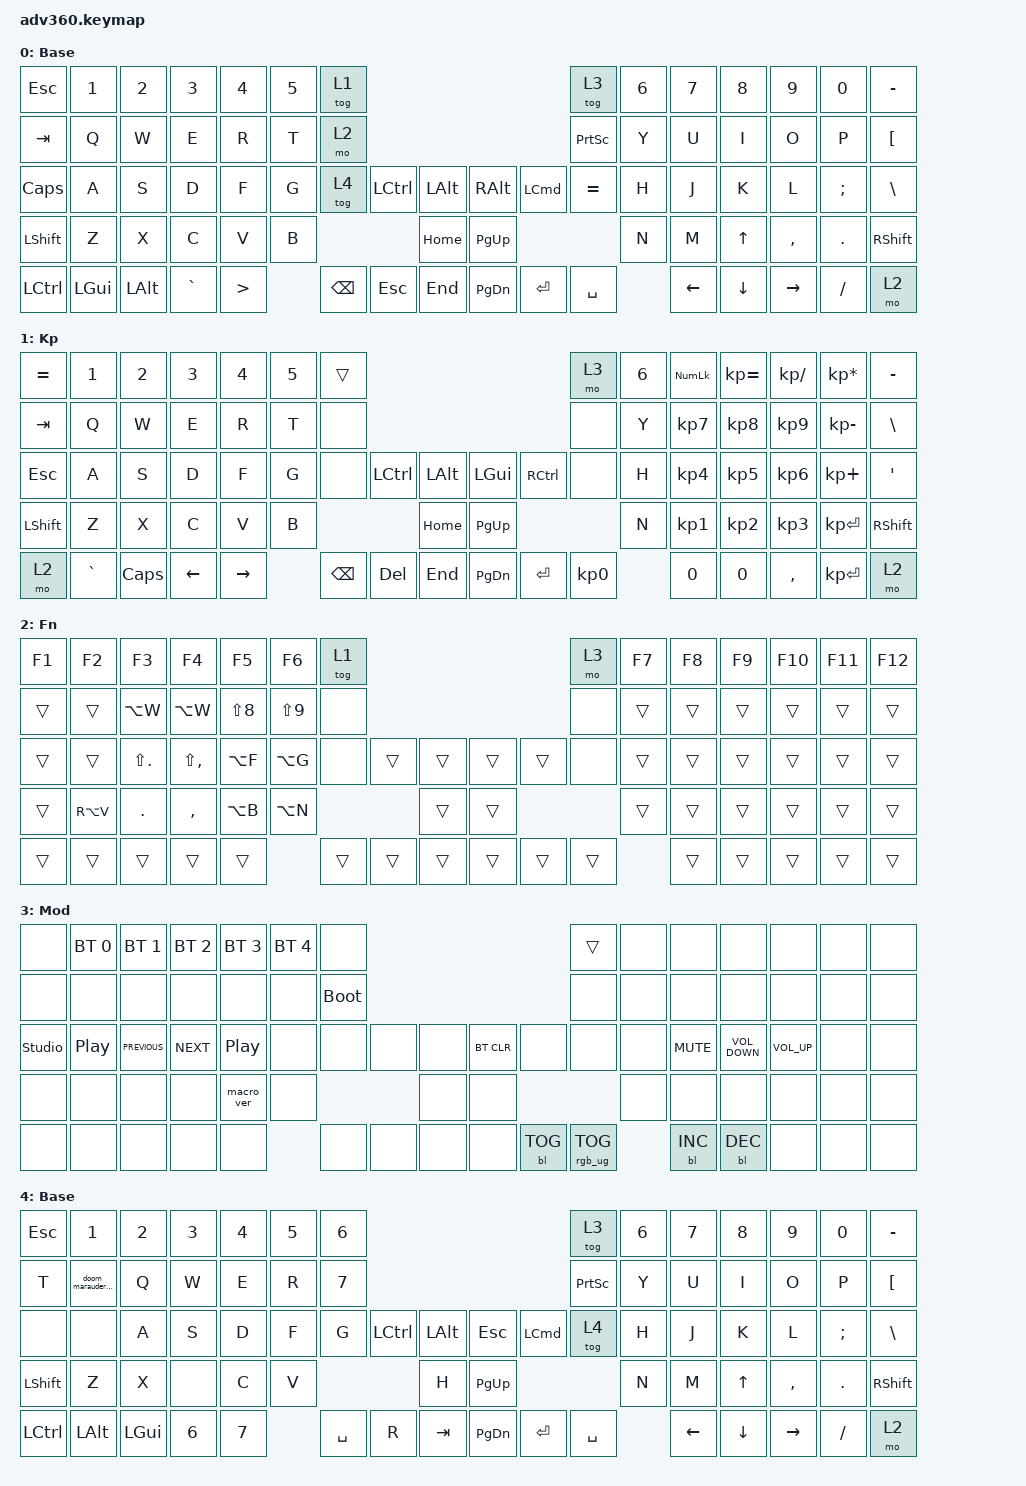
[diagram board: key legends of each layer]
#include <dt-bindings/zmk/stp.h>
#include <behaviors.dtsi>
#include <dt-bindings/zmk/backlight.h>
#include <dt-bindings/zmk/bt.h>
#include <dt-bindings/zmk/keys.h>
#include <dt-bindings/zmk/pointing.h>
#include <dt-bindings/zmk/rgb.h>

/ {
    behaviors {
        #include "macros.dtsi"
      #include "version.dtsi"

        hm: homerow_mods {
            compatible = "zmk,behavior-hold-tap";
            label = "HOMEROW_MODS";
            #binding-cells = <2>;
            tapping-term-ms = <200>;
            quick_tap_ms = <175>;
            flavor = "tap-preferred";
            bindings = <&kp>, <&kp>;
        };
    };

    macros {
        doom_marauder_v2: doom_marauder {
            compatible = "zmk,behavior-macro";
            #binding-cells = <0>;
            bindings =
                <&kp N5>,
                <&macro_wait_time 50000>,
                <&mkp MB1>,
                <&macro_wait_time 40>,
                <&kp NUMBER_6>,
                <&macro_wait_time 50>,
                <&mkp MB1>,
                <&macro_wait_time 100>,
                <&kp NUMBER_4>,
                <&macro_wait_time 40>,
                <&mkp MB1>;

            label = "DOOM_MARAUDER";
        };
    };

    keymap {
        compatible = "zmk,keymap";

        default_layer {
            display-name = "Base";
            bindings = <
&kp ESCAPE        &kp N1        &kp N2        &kp N3     &kp N4            &kp N5  &tog 1                                                               &tog 3           &kp N6  &kp N7          &kp N8        &kp N9           &kp N0     &kp MINUS
&kp TAB           &kp Q         &kp W         &kp E      &kp R             &kp T   &mo 2                                                                &kp PRINTSCREEN  &kp Y   &kp U           &kp I         &kp O            &kp P      &kp LEFT_BRACKET
&kp CAPSLOCK      &kp A         &kp S         &kp D      &kp F             &kp G   &tog 4    &kp LCTRL   &kp LALT      &kp RIGHT_ALT  &kp LEFT_COMMAND  &kp EQUAL        &kp H   &kp J           &kp K         &kp L            &kp SEMI   &kp BACKSLASH
&kp LSHFT         &kp Z         &kp X         &kp C      &kp V             &kp B                         &kp HOME      &kp PG_UP                                         &kp N   &kp M           &kp UP_ARROW  &kp COMMA        &kp DOT    &kp RSHFT
&kp LEFT_CONTROL  &kp LEFT_GUI  &kp LEFT_ALT  &kp GRAVE  &kp GREATER_THAN          &kp BSPC  &kp ESCAPE  &kp END       &kp PG_DN      &kp ENTER         &kp SPACE                &kp LEFT_ARROW  &kp DOWN      &kp RIGHT_ARROW  &kp SLASH  &mo 2
            >;
        };

        keypad {
            display-name = "Kp";
            bindings = <
&kp EQUAL  &kp N1     &kp N2    &kp N3    &kp N4     &kp N5  &trans                                                   &mo 3      &kp N6  &kp KP_NUM    &kp KP_EQUAL  &kp KP_DIVIDE  &kp KP_MULTIPLY  &kp MINUS
&kp TAB    &kp Q      &kp W     &kp E     &kp R      &kp T   &none                                                    &none      &kp Y   &kp KP_N7     &kp KP_N8     &kp KP_N9      &kp KP_MINUS     &kp BSLH
&kp ESC    &kp A      &kp S     &kp D     &kp F      &kp G   &none     &kp LCTRL  &kp LALT      &kp LGUI   &kp RCTRL  &none      &kp H   &kp KP_N4     &kp KP_N5     &kp KP_N6      &kp KP_PLUS      &kp SQT
&kp LSHFT  &kp Z      &kp X     &kp C     &kp V      &kp B                        &kp HOME      &kp PG_UP                        &kp N   &kp KP_N1     &kp KP_N2     &kp KP_N3      &kp KP_ENTER     &kp RSHFT
&mo 2      &kp GRAVE  &kp CAPS  &kp LEFT  &kp RIGHT          &kp BSPC  &kp DEL    &kp END       &kp PG_DN  &kp ENTER  &kp KP_N0          &kp NUMBER_0  &kp NUMBER_0  &kp COMMA      &kp KP_ENTER     &mo 2
            >;
        };

        fn {
            display-name = "Fn";
            bindings = <
&kp F1  &kp F2     &kp F3       &kp F4         &kp F5      &kp F6      &tog 1                                      &mo 3   &kp F7  &kp F8  &kp F9  &kp F10  &kp F11  &kp F12
&trans  &trans     &kp LA(W)    &kp LA(W)      &kp LS(N8)  &kp LS(N9)  &none                                       &none   &trans  &trans  &trans  &trans   &trans   &trans
&trans  &trans     &kp LS(DOT)  &kp LS(COMMA)  &kp LA(F)   &kp LA(G)   &none   &trans  &trans      &trans  &trans  &none   &trans  &trans  &trans  &trans   &trans   &trans
&trans  &kp RA(V)  &kp DOT      &kp COMMA      &kp LA(B)   &kp LA(N)                   &trans      &trans                  &trans  &trans  &trans  &trans   &trans   &trans
&trans  &trans     &trans       &trans         &trans                  &trans  &trans  &trans      &trans  &trans  &trans          &trans  &trans  &trans   &trans   &trans
            >;
        };

        mod {
            display-name = "Mod";
            bindings = <
&none           &bt BT_SEL 0      &bt BT_SEL 1    &bt BT_SEL 2  &bt BT_SEL 3      &bt BT_SEL 4  &none                                                  &trans           &none  &none       &none              &none            &none  &none
&none           &none             &none           &none         &none             &none         &bootloader                                            &none            &none  &none       &none              &none            &none  &none
&studio_unlock  &kp C_PLAY_PAUSE  &kp C_PREVIOUS  &kp C_NEXT    &kp C_PLAY_PAUSE  &none         &none        &none  &none      &bt BT_CLR  &none       &none            &none  &kp C_MUTE  &kp C_VOLUME_DOWN  &kp C_VOLUME_UP  &none  &none
&none           &none             &none           &none         &macro_ver        &none                             &none      &none                                    &none  &none       &none              &none            &none  &none
&none           &none             &none           &none         &none                           &none        &none  &none      &none       &bl BL_TOG  &rgb_ug RGB_TOG         &bl BL_INC  &bl BL_DEC         &none            &none  &none
            >;
        };

        layer_8 {
            display-name = "Base";
            bindings = <
&kp ESCAPE        &kp N1             &kp N2        &kp N3        &kp N4        &kp N5  &kp NUMBER_6                                                        &tog 3           &kp N6  &kp N7          &kp N8        &kp N9           &kp N0     &kp MINUS
&kp T             &doom_marauder_v2  &kp Q         &kp W         &kp E         &kp R   &kp NUMBER_7                                                        &kp PRINTSCREEN  &kp Y   &kp U           &kp I         &kp O            &kp P      &kp LEFT_BRACKET
&none             &none              &kp A         &kp S         &kp D         &kp F   &kp G         &kp LCTRL  &kp LALT      &kp ESC    &kp LEFT_COMMAND  &tog 4           &kp H   &kp J           &kp K         &kp L            &kp SEMI   &kp BACKSLASH
&kp LSHFT         &kp Z              &kp X         &none         &kp C         &kp V                            &kp H         &kp PG_UP                                     &kp N   &kp M           &kp UP_ARROW  &kp COMMA        &kp DOT    &kp RSHFT
&kp LEFT_CONTROL  &kp LEFT_ALT       &kp LEFT_GUI  &kp NUMBER_6  &kp NUMBER_7          &kp SPACE     &kp R      &kp TAB       &kp PG_DN  &kp ENTER         &kp SPACE                &kp LEFT_ARROW  &kp DOWN      &kp RIGHT_ARROW  &kp SLASH  &mo 2
            >;
        };

        extra1 {
            display-name = "Red";
            status = "reserved";
        };

        extra2 {
            display-name = "Purple";
            status = "reserved";
        };

        extra3 {
            display-name = "Cyan";
            status = "reserved";
        };

        extra4 {
            display-name = "Yellow";
            status = "reserved";
        };
    };
};
